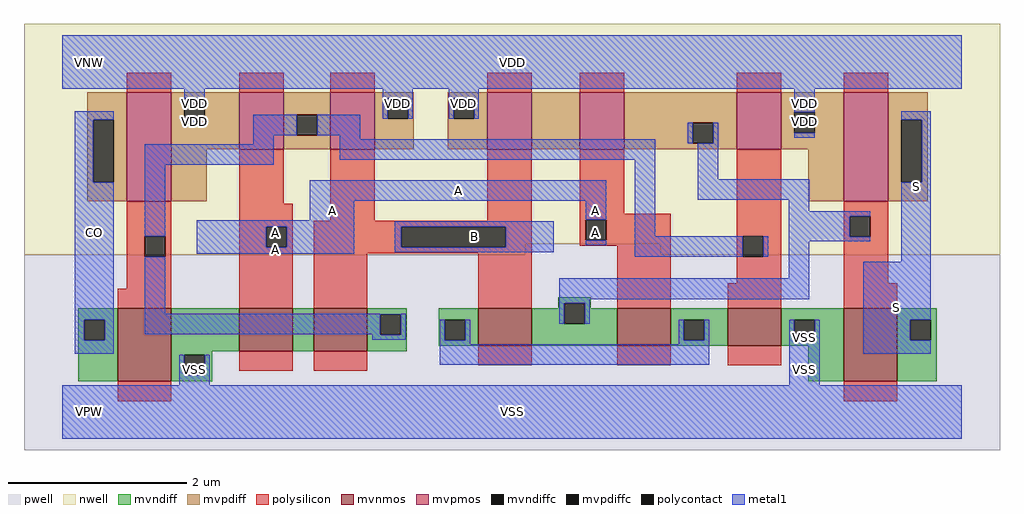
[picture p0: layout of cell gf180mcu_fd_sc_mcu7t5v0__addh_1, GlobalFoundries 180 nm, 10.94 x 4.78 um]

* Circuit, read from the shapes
.subckt gf180mcu_fd_sc_mcu7t5v0__addh_1 A B CO S VDD VNW VPW VSS
XM1 VSS n1 CO VPW nfet_06v0 w=0.815u l=0.6u
XM2 n2 A VSS VPW nfet_06v0 w=0.48u l=0.6u
XM3 n1 B n2 VPW nfet_06v0 w=0.48u l=0.6u
XM4 n3 B n4 VPW nfet_06v0 w=0.42u l=0.6u
XM5 n4 A n3 VPW nfet_06v0 w=0.42u l=0.6u
XM6 VSS n1 n4 VPW nfet_06v0 w=0.42u l=0.6u
XM7 S n3 VSS VPW nfet_06v0 w=0.815u l=0.6u
XM8 VDD n1 CO VNW pfet_06v0 w=1.22u l=0.5u
XM9 n1 A VDD VNW pfet_06v0 w=0.635u l=0.5u
XM10 VDD B n1 VNW pfet_06v0 w=0.635u l=0.5u
XM11 n5 B VDD VNW pfet_06v0 w=0.635u l=0.5u
XM12 n3 A n5 VNW pfet_06v0 w=0.635u l=0.5u
XM13 VDD n1 n3 VNW pfet_06v0 w=0.635u l=0.5u
XM14 S n3 VDD VNW pfet_06v0 w=1.22u l=0.5u
.ends

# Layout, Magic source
magic
tech gf180mcuD
magscale 1 10
<< nwell >>
rect -86 377 2102 870
rect -86 352 1038 377
rect 1342 352 2102 377
<< pwell >>
rect 1038 352 1342 377
rect -86 -86 2102 352
<< mvnmos >>
rect 124 69 244 232
rect 396 136 516 232
rect 564 136 684 232
rect 932 148 1052 232
rect 1244 148 1364 232
rect 1492 148 1612 232
rect 1752 69 1872 232
<< mvpmos >>
rect 144 472 244 716
rect 396 589 496 716
rect 600 589 700 716
rect 952 589 1052 716
rect 1160 589 1260 716
rect 1512 589 1612 716
rect 1752 472 1852 716
<< mvndiff >>
rect 1112 244 1184 257
rect 1112 232 1125 244
rect 36 207 124 232
rect 36 161 49 207
rect 95 161 124 207
rect 36 69 124 161
rect 244 136 396 232
rect 516 136 564 232
rect 684 219 772 232
rect 684 173 713 219
rect 759 173 772 219
rect 684 136 772 173
rect 844 207 932 232
rect 844 161 857 207
rect 903 161 932 207
rect 844 148 932 161
rect 1052 198 1125 232
rect 1171 232 1184 244
rect 1171 198 1244 232
rect 1052 148 1244 198
rect 1364 207 1492 232
rect 1364 161 1393 207
rect 1439 161 1492 207
rect 1364 148 1492 161
rect 1612 207 1752 232
rect 1612 161 1641 207
rect 1687 161 1752 207
rect 1612 148 1752 161
rect 244 128 336 136
rect 244 82 273 128
rect 319 82 336 128
rect 244 69 336 82
rect 1672 69 1752 148
rect 1872 207 1960 232
rect 1872 161 1901 207
rect 1947 161 1960 207
rect 1872 69 1960 161
<< mvpdiff >>
rect 56 655 144 716
rect 56 515 69 655
rect 115 515 144 655
rect 56 472 144 515
rect 244 703 396 716
rect 244 657 273 703
rect 319 657 396 703
rect 244 589 396 657
rect 496 666 600 716
rect 496 620 525 666
rect 571 620 600 666
rect 496 589 600 620
rect 700 703 788 716
rect 700 657 729 703
rect 775 657 788 703
rect 700 589 788 657
rect 864 703 952 716
rect 864 657 877 703
rect 923 657 952 703
rect 864 589 952 657
rect 1052 589 1160 716
rect 1260 648 1512 716
rect 1260 602 1413 648
rect 1459 602 1512 648
rect 1260 589 1512 602
rect 1612 672 1752 716
rect 1612 626 1641 672
rect 1687 626 1752 672
rect 1612 589 1752 626
rect 244 472 324 589
rect 1672 472 1752 589
rect 1852 655 1940 716
rect 1852 515 1881 655
rect 1927 515 1940 655
rect 1852 472 1940 515
<< mvndiffc >>
rect 49 161 95 207
rect 713 173 759 219
rect 857 161 903 207
rect 1125 198 1171 244
rect 1393 161 1439 207
rect 1641 161 1687 207
rect 273 82 319 128
rect 1901 161 1947 207
<< mvpdiffc >>
rect 69 515 115 655
rect 273 657 319 703
rect 525 620 571 666
rect 729 657 775 703
rect 877 657 923 703
rect 1413 602 1459 648
rect 1641 626 1687 672
rect 1881 515 1927 655
<< polysilicon >>
rect 144 716 244 760
rect 396 716 496 760
rect 600 716 700 760
rect 952 716 1052 760
rect 1160 716 1260 760
rect 1512 716 1612 760
rect 1752 716 1852 760
rect 144 394 244 472
rect 144 348 185 394
rect 231 348 244 394
rect 144 276 244 348
rect 124 232 244 276
rect 396 467 496 589
rect 396 415 516 467
rect 600 428 700 589
rect 952 428 1052 589
rect 396 369 457 415
rect 503 369 516 415
rect 396 232 516 369
rect 564 415 1052 428
rect 564 369 760 415
rect 994 369 1052 415
rect 1160 444 1260 589
rect 1160 431 1364 444
rect 1160 385 1173 431
rect 1219 385 1364 431
rect 1160 372 1364 385
rect 564 356 1052 369
rect 564 232 684 356
rect 932 232 1052 356
rect 1244 232 1364 372
rect 1512 394 1612 589
rect 1512 348 1525 394
rect 1571 348 1612 394
rect 1512 288 1612 348
rect 1492 232 1612 288
rect 1752 439 1852 472
rect 1752 393 1765 439
rect 1811 393 1852 439
rect 1752 288 1852 393
rect 1752 232 1872 288
rect 396 92 516 136
rect 564 92 684 136
rect 932 104 1052 148
rect 1244 104 1364 148
rect 1492 104 1612 148
rect 124 24 244 69
rect 1752 24 1872 69
<< polycontact >>
rect 185 348 231 394
rect 457 369 503 415
rect 760 369 994 415
rect 1173 385 1219 431
rect 1525 348 1571 394
rect 1765 393 1811 439
<< metal1 >>
rect 0 724 2016 844
rect 273 703 319 724
rect 28 655 115 674
rect 28 515 69 655
rect 718 703 786 724
rect 273 646 319 657
rect 428 620 525 666
rect 571 620 668 666
rect 718 657 729 703
rect 775 657 786 703
rect 866 703 934 724
rect 866 657 877 703
rect 923 657 934 703
rect 1641 672 1687 724
rect 428 600 474 620
rect 28 207 115 515
rect 28 161 49 207
rect 95 161 115 207
rect 185 554 474 600
rect 622 611 668 620
rect 622 565 1329 611
rect 1402 602 1413 648
rect 1459 602 1470 648
rect 1641 615 1687 626
rect 1881 655 1947 674
rect 185 394 231 554
rect 555 473 1219 519
rect 555 430 654 473
rect 301 415 654 430
rect 1173 431 1219 473
rect 301 369 457 415
rect 503 369 654 415
rect 301 354 654 369
rect 745 415 1102 427
rect 745 369 760 415
rect 994 369 1102 415
rect 1173 374 1219 385
rect 1283 394 1329 565
rect 1424 522 1470 602
rect 1424 475 1674 522
rect 1628 450 1674 475
rect 1927 515 1947 655
rect 1628 439 1811 450
rect 745 358 1102 369
rect 1283 348 1525 394
rect 1571 348 1582 394
rect 1628 393 1765 439
rect 1628 382 1811 393
rect 185 220 231 348
rect 1628 299 1674 382
rect 1881 336 1947 515
rect 1114 253 1674 299
rect 1114 244 1182 253
rect 185 219 770 220
rect 185 174 713 219
rect 695 173 713 174
rect 759 173 770 219
rect 695 162 770 173
rect 28 130 115 161
rect 846 161 857 207
rect 903 161 914 207
rect 1114 198 1125 244
rect 1171 198 1182 244
rect 1795 207 1947 336
rect 846 152 914 161
rect 1382 161 1393 207
rect 1439 161 1450 207
rect 1382 152 1450 161
rect 262 82 273 128
rect 319 82 330 128
rect 846 106 1450 152
rect 1630 161 1641 207
rect 1687 161 1698 207
rect 262 60 330 82
rect 1630 60 1698 161
rect 1795 161 1901 207
rect 1795 130 1947 161
rect 0 -60 2016 60
<< labels >>
flabel metal1 s 28 130 115 674 0 FreeSans 400 0 0 0 CO
port 3 nsew default output
flabel metal1 s 1881 336 1947 674 0 FreeSans 400 0 0 0 S
port 4 nsew default output
flabel metal1 s 0 724 2016 844 0 FreeSans 400 0 0 0 VDD
port 5 nsew power bidirectional abutment
flabel metal1 s 1630 128 1698 207 0 FreeSans 400 0 0 0 VSS
port 8 nsew ground bidirectional abutment
flabel metal1 s 555 473 1219 519 0 FreeSans 400 0 0 0 A
port 1 nsew default input
flabel metal1 s 745 358 1102 427 0 FreeSans 400 0 0 0 B
port 2 nsew default input
flabel nwell s 10 734 110 834 0 FreeSans 400 0 0 0 VNW
port 6 nsew power bidirectional
flabel pwell s 10 -50 110 50 0 FreeSans 400 0 0 0 VPW
port 7 nsew ground bidirectional
rlabel metal1 s 1173 430 1219 473 1 A
port 1 nsew default input
rlabel metal1 s 555 430 654 473 1 A
port 1 nsew default input
rlabel metal1 s 1173 374 1219 430 1 A
port 1 nsew default input
rlabel metal1 s 301 374 654 430 1 A
port 1 nsew default input
rlabel metal1 s 301 354 654 374 1 A
port 1 nsew default input
rlabel metal1 s 1795 130 1947 336 1 S
port 4 nsew default output
rlabel metal1 s 1641 657 1687 724 1 VDD
port 5 nsew power bidirectional abutment
rlabel metal1 s 866 657 934 724 1 VDD
port 5 nsew power bidirectional abutment
rlabel metal1 s 718 657 786 724 1 VDD
port 5 nsew power bidirectional abutment
rlabel metal1 s 273 657 319 724 1 VDD
port 5 nsew power bidirectional abutment
rlabel metal1 s 1641 646 1687 657 1 VDD
port 5 nsew power bidirectional abutment
rlabel metal1 s 273 646 319 657 1 VDD
port 5 nsew power bidirectional abutment
rlabel metal1 s 1641 615 1687 646 1 VDD
port 5 nsew power bidirectional abutment
rlabel metal1 s 1630 60 1698 128 1 VSS
port 8 nsew ground bidirectional abutment
rlabel metal1 s 262 60 330 128 1 VSS
port 8 nsew ground bidirectional abutment
rlabel metal1 s 0 -60 2016 60 1 VSS
port 8 nsew ground bidirectional abutment
<< properties >>
string FIXED_BBOX 0 0 2016 784
string GDS_END 1194268
string GDS_FILE $PDKPATH/libs.ref/gf180mcu_fd_sc_mcu7t5v0/gds/gf180mcu_fd_sc_mcu7t5v0.gds
string GDS_START 1189164
string LEFclass core
string LEFsite GF018hv5v_mcu_sc7
string LEFsymmetry X Y
<< end >>
